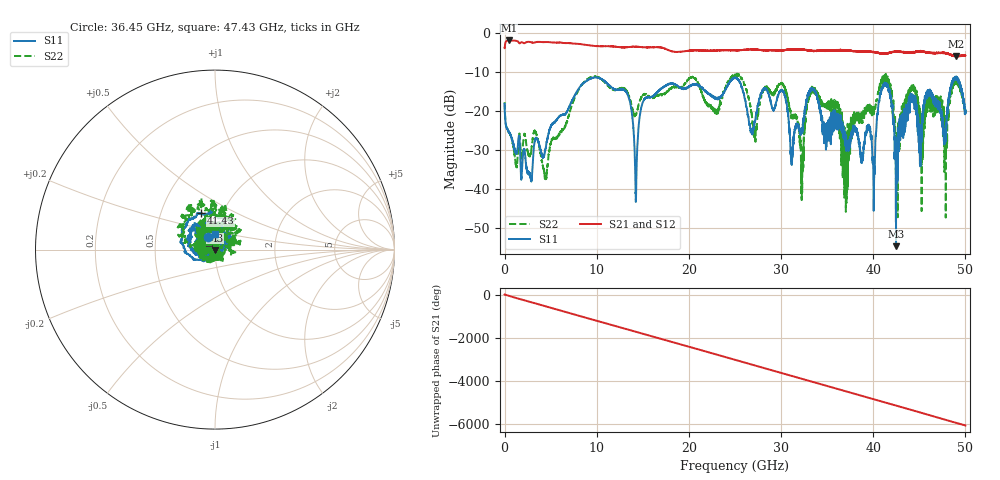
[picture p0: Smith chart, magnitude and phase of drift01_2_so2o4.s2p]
!Created with skrf (http://scikit-rf.org).
# Hz S RI R 50.0
!freq ReS11 ImS11 ReS21 ImS21 ReS12 ImS12 ReS22 ImS22
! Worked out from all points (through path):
!   10001 points, 300 kHz to 50 GHz, reference 50 ohm
!   highest |S21| = -2.00 dB at 490.3 MHz (marker M1); lowest = -6.1 dB at 49.03 GHz (marker M2)
!   group delay of S21, straight-line fit = 336 ps
!   lowest |S11| = -54.8 dB at 42.48 GHz (marker M3), VSWR 1.00, Z = 50.1 - j0.169 ohm
!   |S11| at or under -10 dB: start of sweep to end of sweep
!   |S22| runs from -47.4 to -10.5 dB; largest |S21 - S12| = 0.017
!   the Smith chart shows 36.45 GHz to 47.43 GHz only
!   S11 on the Smith chart (normalised r, x): 36.45 GHz: 0.92, +0.13; 41.43 GHz: 0.79, +0.34; 47.43 GHz: 0.99, +0.17
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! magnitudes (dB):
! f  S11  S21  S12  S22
! 300 kHz  -18.3  -3.9  -4.0  -17.8
! 490.3 MHz  -25.6  -2.0  -2.0  -25.5
! 4.435 GHz  -29.8  -2.4  -2.4  -37.1
! 8.335 GHz  -13.4  -3.0  -3.0  -13.5
! 13.16 GHz  -15.1  -3.8  -3.8  -14.6
! 14.25 GHz  -42.5  -3.6  -3.6  -21.1
! 16.67 GHz  -14.9  -3.7  -3.7  -15.9
! 25 GHz  -11.6  -4.5  -4.6  -10.9
! 27.14 GHz  -22.7  -4.3  -4.3  -25.6
! 30.2 GHz  -15.2  -4.5  -4.5  -13.3
! 32.23 GHz  -24.5  -4.4  -4.3  -34.6
! 33.34 GHz  -14.4  -4.7  -4.6  -14.4
! 36.45 GHz  -21.7  -4.4  -4.5  -22.7
! 37.07 GHz  -30.3  -4.6  -4.6  -33.7
! 40.06 GHz  -44.8  -4.9  -5.0  -21.1
! 41.43 GHz  -13.3  -5.3  -5.3  -12.9
! 41.67 GHz  -14.5  -5.1  -5.2  -12.5
! 42.48 GHz  -54.8  -4.9  -4.9  -32.8
! 44.17 GHz  -17.0  -5.0  -5.1  -14.0
! 47.43 GHz  -21.3  -5.2  -5.2  -20.3
! 49.03 GHz  -11.4  -6.1  -6.0  -12.5
! 50 GHz  -19.9  -5.9  -5.8  -19.9
